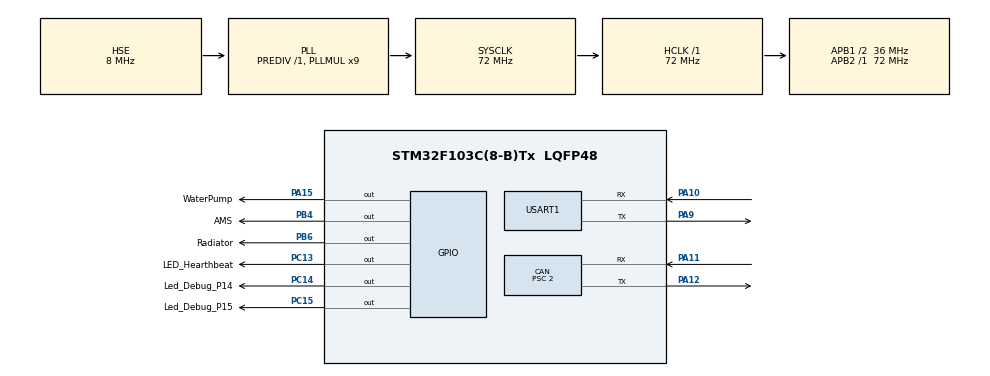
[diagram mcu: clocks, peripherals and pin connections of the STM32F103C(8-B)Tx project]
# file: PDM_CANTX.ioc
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CAN.BS1=CAN_BS1_16TQ
CAN.CalculateBaudRate=1000000
CAN.CalculateTimeBit=1000
CAN.CalculateTimeQuantum=55.55555555555556
CAN.NART=ENABLE
CAN.Prescaler=2
Mcu.Family=STM32F1
Mcu.Name=STM32F103C(8-B)Tx
Mcu.Package=LQFP48
NVIC.CAN1_RX1_IRQn=true\:0\:0\:false\:false\:true\:true\:true\:true
NVIC.PriorityGroup=NVIC_PRIORITYGROUP_4
NVIC.USB_LP_CAN1_RX0_IRQn=true\:0\:0\:false\:false\:true\:true\:true\:true
PA10.Mode=Asynchronous
PA10.Signal=USART1_RX
PA11.Mode=CAN_Activate
PA11.Signal=CAN_RX
PA12.Mode=CAN_Activate
PA12.Signal=CAN_TX
PA13.Mode=Serial_Wire
PA13.Signal=SYS_JTMS-SWDIO
PA14.Mode=Serial_Wire
PA14.Signal=SYS_JTCK-SWCLK
PA15.GPIO_Label=WaterPump
PA15.Signal=GPIO_Output
PA9.Mode=Asynchronous
PA9.Signal=USART1_TX
PB4.GPIO_Label=AMS
PB4.Signal=GPIO_Output
PB6.GPIO_Label=Radiator
PB6.Signal=GPIO_Output
PC13-TAMPER-RTC.GPIO_Label=LED_Hearthbeat
PC13-TAMPER-RTC.Signal=GPIO_Output
PC14-OSC32_IN.GPIO_Label=Led_Debug_P14
PC14-OSC32_IN.Signal=GPIO_Output
PC15-OSC32_OUT.GPIO_Label=Led_Debug_P15
PC15-OSC32_OUT.Signal=GPIO_Output
PD0-OSC_IN.Mode=HSE-External-Oscillator
PD0-OSC_IN.Signal=RCC_OSC_IN
PD1-OSC_OUT.Mode=HSE-External-Oscillator
PD1-OSC_OUT.Signal=RCC_OSC_OUT
ProjectManager.HeapSize=0x200
ProjectManager.StackSize=0x400
ProjectManager.TargetToolchain=STM32CubeIDE
RCC.AHBFreq_Value=72000000
RCC.APB1CLKDivider=RCC_HCLK_DIV2
RCC.APB1Freq_Value=36000000
RCC.APB1TimFreq_Value=72000000
RCC.APB2Freq_Value=72000000
RCC.APB2TimFreq_Value=72000000
RCC.HCLKFreq_Value=72000000
RCC.PLLMUL=RCC_PLL_MUL9
RCC.PLLSourceVirtual=RCC_PLLSOURCE_HSE
RCC.SYSCLKFreq_VALUE=72000000
RCC.SYSCLKSource=RCC_SYSCLKSOURCE_PLLCLK
RCC.USBFreq_Value=72000000
USART1.VirtualMode=VM_ASYNC
board=custom

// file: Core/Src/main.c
/* USER CODE BEGIN Header */
/**
  ******************************************************************************
  * @file           : main.c
  * @brief          : Main program body
  ******************************************************************************
  * @attention
  *
  * Copyright (c) 2026 STMicroelectronics.
  * All rights reserved.
  *
  * This software is licensed under terms that can be found in the LICENSE file
  * in the root directory of this software component.
  * If no LICENSE file comes with this software, it is provided AS-IS.
  *
  ******************************************************************************
  */
/* USER CODE END Header */
#include "main.h"

/* USER CODE BEGIN Includes */
#include "string.h"
#include "stdio.h"
/* USER CODE END Includes */

CAN_HandleTypeDef hcan;
UART_HandleTypeDef huart1;

/* USER CODE BEGIN PV */

/* CAN */
CAN_TxHeaderTypeDef TxHeader; //TX
uint8_t TxData[2];            //TX
uint32_t TxMailbox;           //TX

CAN_RxHeaderTypeDef RxHeader; //RX
uint8_t RxData[1];            //RX

/* USER CODE END PV */

void SystemClock_Config(void);
static void MX_GPIO_Init(void);
static void MX_CAN_Init(void);
static void MX_USART1_UART_Init(void);

/* USER CODE BEGIN 0 */

/* EUSART */
int __io_putchar(int ch) {
    HAL_UART_Transmit(&huart1, (uint8_t *)&ch, 1, HAL_MAX_DELAY);
    return ch;
}

/* CAN RX */
void HAL_CAN_RxFifo0MsgPendingCallback(CAN_HandleTypeDef *hcan)
{
    if (HAL_CAN_GetRxMessage(hcan, CAN_RX_FIFO0, &RxHeader, RxData) != HAL_OK)
        return;

    /* Confere ID */
    if (RxHeader.StdId == 0x101 && RxHeader.IDE == CAN_ID_STD)
    {
        if (RxData[0] == 0x01) // If ID = 101 and Data = 01, ON
        {
        	HAL_GPIO_WritePin(GPIOB, Radiator_Pin, GPIO_PIN_SET);
        	HAL_GPIO_WritePin(GPIOB, AMS_Pin, GPIO_PIN_SET);
        	HAL_GPIO_WritePin(GPIOA, WaterPump_Pin, GPIO_PIN_SET);

        	/* Debug EUSART */
        	char *test_msg = "Radiator, AMS, WaterPump ON\r\n";
        	HAL_UART_Transmit(&huart1, (uint8_t*)test_msg, strlen(test_msg), 100);
        }
        else if (RxData[0] == 0x00) // If ID = 101 and Data = 00, OFF
        {
        	HAL_GPIO_WritePin(GPIOB, Radiator_Pin, GPIO_PIN_SET);
			HAL_GPIO_WritePin(GPIOB, AMS_Pin, GPIO_PIN_RESET);
			HAL_GPIO_WritePin(GPIOA, WaterPump_Pin, GPIO_PIN_RESET);

			/* Debug EUSART */
			char *test_msg = "Radiator, AMS, WaterPump OFF\r\n";
			HAL_UART_Transmit(&huart1, (uint8_t*)test_msg, strlen(test_msg), 100);
        }
    }
}

/* USER CODE END 0 */

int main(void)
{

  /* MCU Configuration--------------------------------------------------------*/

  /* Reset of all peripherals, Initializes the Flash interface and the Systick. */
  HAL_Init();

  /* Configure the system clock */
  SystemClock_Config();

  /* Initialize all configured peripherals */
  MX_GPIO_Init();
  MX_CAN_Init();
  MX_USART1_UART_Init();
  /* USER CODE BEGIN 2 */

  /* CAN */
  HAL_CAN_Start(&hcan);
  TxHeader.StdId = 0x123; // ID
  TxHeader.ExtId = 0x00;
  TxHeader.IDE = CAN_ID_STD;
  TxHeader.RTR = CAN_RTR_DATA;
  TxHeader.DLC = 8;
  TxHeader.TransmitGlobalTime = DISABLE;

  HAL_CAN_ActivateNotification(&hcan, CAN_IT_RX_FIFO0_MSG_PENDING);

  // EUSART Initial Message
  char *test_msg = "USART OK\r\n";
  HAL_UART_Transmit(&huart1, (uint8_t*)test_msg, strlen(test_msg), 100);
  /* USER CODE END 2 */

  /* Infinite loop */
  /* USER CODE BEGIN WHILE */
  while (1)
  {

	HAL_GPIO_TogglePin(GPIOC, LED_Hearthbeat_Pin);

	// CAN TX
    TxData[0] = 0x01;
    TxData[1] = 0x02;
    TxData[2] = 0x03;

    if (HAL_CAN_GetTxMailboxesFreeLevel(&hcan) > 0)
    {
	   HAL_CAN_AddTxMessage(&hcan, &TxHeader, TxData, &TxMailbox);
	   HAL_GPIO_TogglePin(GPIOC, Led_Debug_P15_Pin);
    }

    HAL_Delay(5000);

    /* USER CODE END WHILE */

  }
}

void SystemClock_Config(void)
{
  RCC_OscInitTypeDef RCC_OscInitStruct = {0};
  RCC_ClkInitTypeDef RCC_ClkInitStruct = {0};

  /** Initializes the RCC Oscillators according to the specified parameters
  * in the RCC_OscInitTypeDef structure.
  */
  RCC_OscInitStruct.OscillatorType = RCC_OSCILLATORTYPE_HSE;
  RCC_OscInitStruct.HSEState = RCC_HSE_ON;
  RCC_OscInitStruct.HSEPredivValue = RCC_HSE_PREDIV_DIV1;
  RCC_OscInitStruct.HSIState = RCC_HSI_ON;
  RCC_OscInitStruct.PLL.PLLState = RCC_PLL_ON;
  RCC_OscInitStruct.PLL.PLLSource = RCC_PLLSOURCE_HSE;
  RCC_OscInitStruct.PLL.PLLMUL = RCC_PLL_MUL9;
  if (HAL_RCC_OscConfig(&RCC_OscInitStruct) != HAL_OK)
  {
    Error_Handler();
  }

  /** Initializes the CPU, AHB and APB buses clocks
  */
  RCC_ClkInitStruct.ClockType = RCC_CLOCKTYPE_HCLK|RCC_CLOCKTYPE_SYSCLK
                              |RCC_CLOCKTYPE_PCLK1|RCC_CLOCKTYPE_PCLK2;
  RCC_ClkInitStruct.SYSCLKSource = RCC_SYSCLKSOURCE_PLLCLK;
  RCC_ClkInitStruct.AHBCLKDivider = RCC_SYSCLK_DIV1;
  RCC_ClkInitStruct.APB1CLKDivider = RCC_HCLK_DIV2;
  RCC_ClkInitStruct.APB2CLKDivider = RCC_HCLK_DIV1;

  if (HAL_RCC_ClockConfig(&RCC_ClkInitStruct, FLASH_LATENCY_2) != HAL_OK)
  {
    Error_Handler();
  }
}

static void MX_CAN_Init(void)
{

  hcan.Instance = CAN1;
  hcan.Init.Prescaler = 2;
  hcan.Init.Mode = CAN_MODE_NORMAL;
  hcan.Init.SyncJumpWidth = CAN_SJW_1TQ;
  hcan.Init.TimeSeg1 = CAN_BS1_16TQ;
  hcan.Init.TimeSeg2 = CAN_BS2_1TQ;
  hcan.Init.TimeTriggeredMode = DISABLE;
  hcan.Init.AutoBusOff = DISABLE;
  hcan.Init.AutoWakeUp = DISABLE;
  hcan.Init.AutoRetransmission = ENABLE;
  hcan.Init.ReceiveFifoLocked = DISABLE;
  hcan.Init.TransmitFifoPriority = DISABLE;
  if (HAL_CAN_Init(&hcan) != HAL_OK)
  {
    Error_Handler();
  }
  /* USER CODE BEGIN CAN_Init 2 */

  CAN_FilterTypeDef canfilter;

  /* CAN TX */
  canfilter.FilterBank = 0;
  canfilter.FilterMode = CAN_FILTERMODE_IDMASK;
  canfilter.FilterScale = CAN_FILTERSCALE_32BIT;

  /* CAN RX */
  canfilter.FilterBank = 0;
  canfilter.FilterMode = CAN_FILTERMODE_IDMASK;
  canfilter.FilterScale = CAN_FILTERSCALE_32BIT;

  /* ID 0x101 */
  canfilter.FilterIdHigh = (0x101 << 5);
  canfilter.FilterIdLow  = 0x0000;

  /* Máscara 11 bits */
  canfilter.FilterMaskIdHigh = (0x7FF << 5);
  canfilter.FilterMaskIdLow  = 0x0000;

  canfilter.FilterFIFOAssignment = CAN_RX_FIFO0;
  canfilter.FilterActivation = ENABLE;

  HAL_CAN_ConfigFilter(&hcan, &canfilter);

  /* USER CODE END CAN_Init 2 */

}

static void MX_USART1_UART_Init(void)
{

  huart1.Instance = USART1;
  huart1.Init.BaudRate = 115200;
  huart1.Init.WordLength = UART_WORDLENGTH_8B;
  huart1.Init.StopBits = UART_STOPBITS_1;
  huart1.Init.Parity = UART_PARITY_NONE;
  huart1.Init.Mode = UART_MODE_TX_RX;
  huart1.Init.HwFlowCtl = UART_HWCONTROL_NONE;
  huart1.Init.OverSampling = UART_OVERSAMPLING_16;
  if (HAL_UART_Init(&huart1) != HAL_OK)
  {
    Error_Handler();
  }

}

static void MX_GPIO_Init(void)
{
  GPIO_InitTypeDef GPIO_InitStruct = {0};

  /* GPIO Ports Clock Enable */
  __HAL_RCC_GPIOC_CLK_ENABLE();
  __HAL_RCC_GPIOD_CLK_ENABLE();
  __HAL_RCC_GPIOA_CLK_ENABLE();
  __HAL_RCC_GPIOB_CLK_ENABLE();

  /*Configure GPIO pin Output Level */
  HAL_GPIO_WritePin(GPIOC, LED_Hearthbeat_Pin|Led_Debug_P14_Pin|Led_Debug_P15_Pin, GPIO_PIN_RESET);

  /*Configure GPIO pin Output Level */
  HAL_GPIO_WritePin(WaterPump_GPIO_Port, WaterPump_Pin, GPIO_PIN_RESET);

  /*Configure GPIO pin Output Level */
  HAL_GPIO_WritePin(GPIOB, AMS_Pin|Radiator_Pin, GPIO_PIN_RESET);

  /*Configure GPIO pins : LED_Hearthbeat_Pin Led_Debug_P14_Pin Led_Debug_P15_Pin */
  GPIO_InitStruct.Pin = LED_Hearthbeat_Pin|Led_Debug_P14_Pin|Led_Debug_P15_Pin;
  GPIO_InitStruct.Mode = GPIO_MODE_OUTPUT_PP;
  GPIO_InitStruct.Pull = GPIO_NOPULL;
  GPIO_InitStruct.Speed = GPIO_SPEED_FREQ_LOW;
  HAL_GPIO_Init(GPIOC, &GPIO_InitStruct);

  /*Configure GPIO pin : WaterPump_Pin */
  GPIO_InitStruct.Pin = WaterPump_Pin;
  GPIO_InitStruct.Mode = GPIO_MODE_OUTPUT_PP;
  GPIO_InitStruct.Pull = GPIO_NOPULL;
  GPIO_InitStruct.Speed = GPIO_SPEED_FREQ_LOW;
  HAL_GPIO_Init(WaterPump_GPIO_Port, &GPIO_InitStruct);

  /*Configure GPIO pins : AMS_Pin Radiator_Pin */
  GPIO_InitStruct.Pin = AMS_Pin|Radiator_Pin;
  GPIO_InitStruct.Mode = GPIO_MODE_OUTPUT_PP;
  GPIO_InitStruct.Pull = GPIO_NOPULL;
  GPIO_InitStruct.Speed = GPIO_SPEED_FREQ_LOW;
  HAL_GPIO_Init(GPIOB, &GPIO_InitStruct);

}

void Error_Handler(void)
{
  __disable_irq();
  while (1)
  {
  }
}
